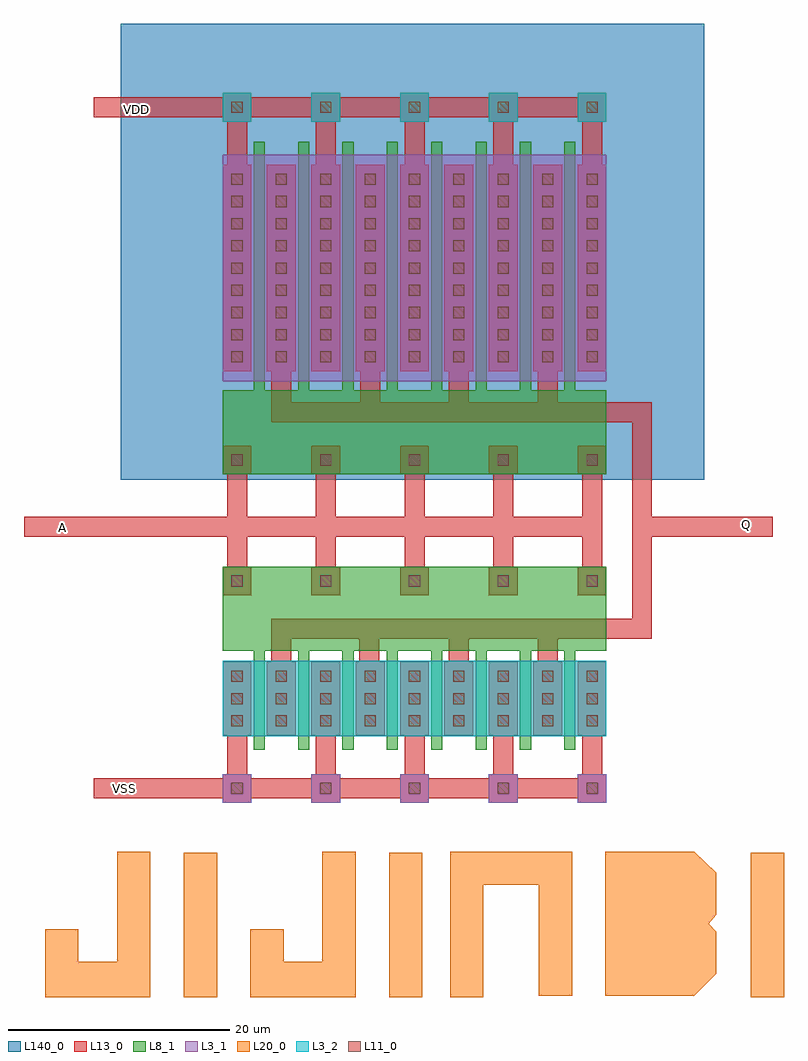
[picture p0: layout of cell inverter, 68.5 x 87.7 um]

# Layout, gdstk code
import gdstk
lib = gdstk.Library(unit=1e-6, precision=1e-07)
def R(c, l, rs):  # rectangles x0, y0, x1, y1
    for r in rs: c.add(gdstk.rectangle(r[:2], r[2:], *l))
def A(c, l, x, y, w, h, nx, ny, dx, dy):  # array of equal rectangles
    R(c, l, [(x+i*dx, y+j*dy, x+i*dx+w, y+j*dy+h) for i in range(nx) for j in range(ny)])
def P(c, l, *ps):  # polygons
    for p in ps: c.add(gdstk.Polygon(p, *l))
L3_1 = (3, 1)
L3_2 = (3, 2)
L8_1 = (8, 1)
L11_0 = (11, 0)
L13_0 = (13, 0)
L20_0 = (20, 0)
L140_0 = (140, 0)

fet_p = lib.new_cell('fet_p')
R(fet_p, L3_1, [(-17.3,-10.2,17.3,10.2)])
A(fet_p, L11_0, -16.5, -8.5, 1, 1, 9, 9, 4, 2)
A(fet_p, L13_0, -17.3, -9.3, 2.6, 18.6, 9, 1, 4, 0)
fet_p.add(gdstk.FlexPath([(2,-11.4),(2,11.4)], 1, ends="flush", simple_path=True, layer=8, datatype=1))  # L8_1
fet_p.add(gdstk.FlexPath([(-2,-11.4),(-2,11.4)], 1, ends="flush", simple_path=True, layer=8, datatype=1))  # L8_1
fet_p.add(gdstk.FlexPath([(6,-11.4),(6,11.4)], 1, ends="flush", simple_path=True, layer=8, datatype=1))  # L8_1
fet_p.add(gdstk.FlexPath([(-6,-11.4),(-6,11.4)], 1, ends="flush", simple_path=True, layer=8, datatype=1))  # L8_1
fet_p.add(gdstk.FlexPath([(10,-11.4),(10,11.4)], 1, ends="flush", simple_path=True, layer=8, datatype=1))  # L8_1
fet_p.add(gdstk.FlexPath([(-10,-11.4),(-10,11.4)], 1, ends="flush", simple_path=True, layer=8, datatype=1))  # L8_1
fet_p.add(gdstk.FlexPath([(14,-11.4),(14,11.4)], 1, ends="flush", simple_path=True, layer=8, datatype=1))  # L8_1
fet_p.add(gdstk.FlexPath([(-14,-11.4),(-14,11.4)], 1, ends="flush", simple_path=True, layer=8, datatype=1))  # L8_1

cont_g = lib.new_cell('cont_g')
R(cont_g, L8_1, [(-1.3,-1.3,1.3,1.3)])
R(cont_g, L11_0, [(-0.5,-0.5,0.5,0.5)])
R(cont_g, L13_0, [(-1.3,-1.3,1.3,1.3)])

cont_p = lib.new_cell('cont_p')
R(cont_p, L3_1, [(-1.3,-1.3,1.3,1.3)])
R(cont_p, L11_0, [(-0.5,-0.5,0.5,0.5)])
R(cont_p, L13_0, [(-1.3,-1.3,1.3,1.3)])

fet_n = lib.new_cell('fet_n')
R(fet_n, L3_2, [(-17.3,-3.4,17.3,3.4)])
A(fet_n, L11_0, -16.5, -2.5, 1, 1, 9, 3, 4, 2)
A(fet_n, L13_0, -17.3, -3.3, 2.6, 6.6, 9, 1, 4, 0)
fet_n.add(gdstk.FlexPath([(2,-4.6),(2,4.6)], 1, ends="flush", simple_path=True, layer=8, datatype=1))  # L8_1
fet_n.add(gdstk.FlexPath([(-2,-4.6),(-2,4.6)], 1, ends="flush", simple_path=True, layer=8, datatype=1))  # L8_1
fet_n.add(gdstk.FlexPath([(6,-4.6),(6,4.6)], 1, ends="flush", simple_path=True, layer=8, datatype=1))  # L8_1
fet_n.add(gdstk.FlexPath([(-6,-4.6),(-6,4.6)], 1, ends="flush", simple_path=True, layer=8, datatype=1))  # L8_1
fet_n.add(gdstk.FlexPath([(10,-4.6),(10,4.6)], 1, ends="flush", simple_path=True, layer=8, datatype=1))  # L8_1
fet_n.add(gdstk.FlexPath([(-10,-4.6),(-10,4.6)], 1, ends="flush", simple_path=True, layer=8, datatype=1))  # L8_1
fet_n.add(gdstk.FlexPath([(14,-4.6),(14,4.6)], 1, ends="flush", simple_path=True, layer=8, datatype=1))  # L8_1
fet_n.add(gdstk.FlexPath([(-14,-4.6),(-14,4.6)], 1, ends="flush", simple_path=True, layer=8, datatype=1))  # L8_1

cont_n = lib.new_cell('cont_n')
R(cont_n, L3_2, [(-1.3,-1.3,1.3,1.3)])
R(cont_n, L11_0, [(-0.5,-0.5,0.5,0.5)])
R(cont_n, L13_0, [(-1.3,-1.3,1.3,1.3)])

inverter = lib.new_cell('inverter')
P(inverter, L8_1, [(49.2,-11.6),(49.2,-4),(83.8,-4),(83.8,-11.6),(54.1,-11.6)],
  [(49.2,-27.5),(49.2,-19.9),(83.8,-19.9),(83.8,-27.5),(54.1,-27.5)])
R(inverter, L20_0, [(45.7,-58.7,48.7,-45.7), (64.2,-58.7,67.2,-45.7), (96.8,-58.7,99.8,-45.7), (86.7,-56.1,90.8,-53.1), (86.7,-51.1,90.7,-48.1)])
P(inverter, L20_0, [(51.7,-58.7),(51.7,-52.6),(54.7,-52.6),(54.7,-55.5),(58.2,-55.5),(58.2,-45.6),(61.2,-45.6),(61.2,-58.7)],
  [(69.7,-58.7),(69.7,-45.6),(80.7,-45.6),(80.7,-58.6),(77.7,-58.6),(77.7,-48.6),(72.7,-48.6),(72.7,-58.7)],
  [(83.7,-58.6),(83.7,-45.6),(91.7,-45.6),(93.7,-47.5),(93.7,-51.3),(93,-52.1),(93.7,-52.8),(93.7,-56.6),(91.7,-58.6)],
  [(33.2,-58.7),(33.2,-52.6),(36.2,-52.6),(36.2,-55.5),(39.7,-55.5),(39.7,-45.6),(42.7,-45.6),(42.7,-58.7)])
P(inverter, L140_0, [(40,-12.1),(40,29),(50.8,29),(92.6,29),(92.6,-12.1)])
inverter.add(gdstk.FlexPath([(54.5,16.3),(54.5,-6),(87.9,-6)], 1.8, ends="flush", simple_path=True, layer=13, datatype=0))  # L13_0
inverter.add(gdstk.FlexPath([(62.5,16.3),(62.5,-6.9)], 1.8, ends="flush", simple_path=True, layer=13, datatype=0))  # L13_0
inverter.add(gdstk.FlexPath([(70.5,16.3),(70.5,-6.9)], 1.8, ends="flush", simple_path=True, layer=13, datatype=0))  # L13_0
inverter.add(gdstk.FlexPath([(78.5,16.3),(78.5,-6.9)], 1.8, ends="flush", simple_path=True, layer=13, datatype=0))  # L13_0
inverter.add(gdstk.FlexPath([(82.5,-28.5),(82.5,-39.9),(37.6,-39.9),(37.6,-39.9),(37.6,-39.9),(37.6,-39.9)], 1.8, ends="flush", simple_path=True, layer=13, datatype=0))  # L13_0
inverter.add(gdstk.FlexPath([(74.5,-28.5),(74.5,-40.8),(74.5,-40.8)], 1.8, ends="flush", simple_path=True, layer=13, datatype=0))  # L13_0
inverter.add(gdstk.FlexPath([(66.5,-28.5),(66.5,-40.8)], 1.8, ends="flush", simple_path=True, layer=13, datatype=0))  # L13_0
inverter.add(gdstk.FlexPath([(58.5,-28.5),(58.5,-40.8)], 1.8, ends="flush", simple_path=True, layer=13, datatype=0))  # L13_0
inverter.add(gdstk.FlexPath([(50.5,-28.5),(50.5,-40.8)], 1.8, ends="flush", simple_path=True, layer=13, datatype=0))  # L13_0
inverter.add(gdstk.FlexPath([(54.5,-35.1),(54.5,-25.5),(87.9,-25.5)], 1.8, ends="flush", simple_path=True, layer=13, datatype=0))  # L13_0
inverter.add(gdstk.FlexPath([(62.4,-35.1),(62.4,-24.6),(62.4,-24.6)], 1.8, ends="flush", simple_path=True, layer=13, datatype=0))  # L13_0
inverter.add(gdstk.FlexPath([(70.5,-35.1),(70.5,-24.6)], 1.8, ends="flush", simple_path=True, layer=13, datatype=0))  # L13_0
inverter.add(gdstk.FlexPath([(78.5,-35.1),(78.5,-24.6)], 1.8, ends="flush", simple_path=True, layer=13, datatype=0))  # L13_0
inverter.add(gdstk.FlexPath([(87,-5.1),(87,-26.4)], 1.8, ends="flush", simple_path=True, layer=13, datatype=0))  # L13_0
inverter.add(gdstk.FlexPath([(86.1,-16.3),(98.8,-16.3)], 1.8, ends="flush", simple_path=True, layer=13, datatype=0))  # L13_0
inverter.add(gdstk.FlexPath([(83.4,-16.3),(31.3,-16.3)], 1.8, ends="flush", simple_path=True, layer=13, datatype=0))  # L13_0
inverter.add(gdstk.FlexPath([(82.5,-2.3),(82.5,21.5),(37.6,21.5),(37.6,21.5)], 1.8, ends="flush", simple_path=True, layer=13, datatype=0))  # L13_0
inverter.add(gdstk.FlexPath([(74.5,-2.3),(74.5,22.4)], 1.8, ends="flush", simple_path=True, layer=13, datatype=0))  # L13_0
inverter.add(gdstk.FlexPath([(66.5,-2.3),(66.5,22.4)], 1.8, ends="flush", simple_path=True, layer=13, datatype=0))  # L13_0
inverter.add(gdstk.FlexPath([(58.5,-2.3),(58.5,22.4)], 1.8, ends="flush", simple_path=True, layer=13, datatype=0))  # L13_0
inverter.add(gdstk.FlexPath([(50.5,-2.3),(50.5,22.4)], 1.8, ends="flush", simple_path=True, layer=13, datatype=0))  # L13_0
inverter.add(gdstk.FlexPath([(82.5,-9),(82.5,-22.5)], 1.8, ends="flush", simple_path=True, layer=13, datatype=0))  # L13_0
inverter.add(gdstk.FlexPath([(66.5,-9),(66.5,-22.5)], 1.8, ends="flush", simple_path=True, layer=13, datatype=0))  # L13_0
inverter.add(gdstk.FlexPath([(74.5,-9),(74.5,-22.5)], 1.8, ends="flush", simple_path=True, layer=13, datatype=0))  # L13_0
inverter.add(gdstk.FlexPath([(58.5,-9),(58.5,-22.5)], 1.8, ends="flush", simple_path=True, layer=13, datatype=0))  # L13_0
inverter.add(gdstk.FlexPath([(50.5,-9),(50.5,-22.5)], 1.8, ends="flush", simple_path=True, layer=13, datatype=0))  # L13_0
inverter.add(gdstk.Reference(fet_p, (66.5,7)))
inverter.add(gdstk.Reference(cont_g, (50.5,-10.3)))
inverter.add(gdstk.Reference(cont_g, (58.5,-10.3)))
inverter.add(gdstk.Reference(cont_g, (66.5,-10.3)))
inverter.add(gdstk.Reference(cont_p, (82.5,-39.9)))
inverter.add(gdstk.Reference(fet_n, (66.5,-31.8)))
inverter.add(gdstk.Reference(cont_g, (82.5,-10.3)))
inverter.add(gdstk.Reference(cont_g, (74.5,-10.3)))
inverter.add(gdstk.Reference(cont_n, (50.5,21.5)))
inverter.add(gdstk.Reference(cont_n, (58.5,21.5)))
inverter.add(gdstk.Reference(cont_n, (66.5,21.5)))
inverter.add(gdstk.Reference(cont_n, (74.5,21.5)))
inverter.add(gdstk.Reference(cont_n, (82.5,21.5)))
inverter.add(gdstk.Reference(cont_p, (74.5,-39.9)))
inverter.add(gdstk.Reference(cont_p, (66.5,-39.9)))
inverter.add(gdstk.Reference(cont_p, (58.5,-39.9)))
inverter.add(gdstk.Reference(cont_p, (50.5,-39.9)))
inverter.add(gdstk.Reference(cont_g, (50.5,-21.2)))
inverter.add(gdstk.Reference(cont_g, (58.5,-21.2)))
inverter.add(gdstk.Reference(cont_g, (66.5,-21.2)))
inverter.add(gdstk.Reference(cont_g, (82.5,-21.2)))
inverter.add(gdstk.Reference(cont_g, (74.5,-21.2)))
inverter.add(gdstk.Label('VDD', (41.4,21.3), layer=48, texttype=0))
inverter.add(gdstk.Label('A', (34.8,-16.4), layer=48, texttype=0))
inverter.add(gdstk.Label('VSS', (40.4,-39.9), layer=48, texttype=0))
inverter.add(gdstk.Label('Q', (96.4,-16.1), layer=48, texttype=0))

lib.write_gds('inverter.gds')
